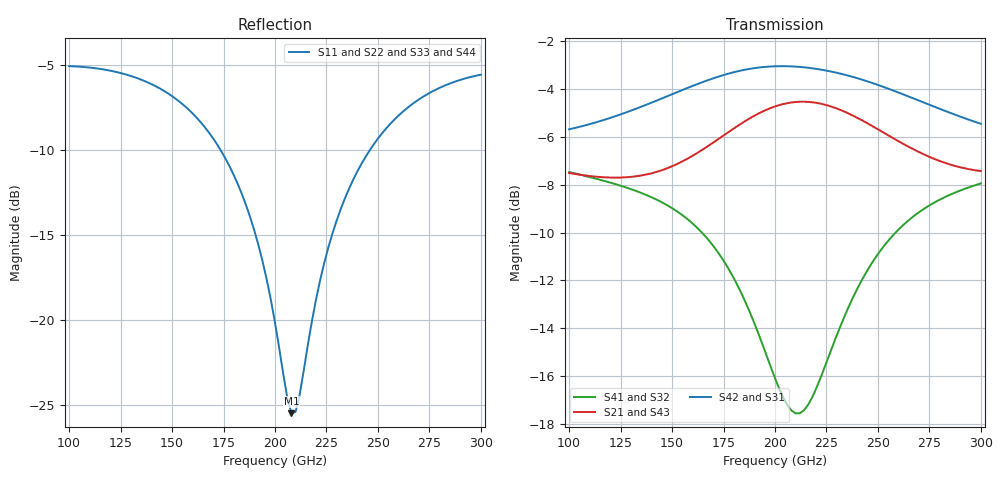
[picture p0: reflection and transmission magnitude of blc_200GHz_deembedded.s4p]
! Created with skrf 2.2.0 (http://scikit-rf.org).
# GHz S DB R 50.0
! Port[1] = P1
! Port[2] = P2
! Port[3] = P3
! Port[4] = P4
!freq dBS11 angS11 dBS12 angS12 dBS13 angS13
! dBS14 angS14
! dBS21 angS21 dBS22 angS22 dBS23 angS23
! dBS24 angS24
! dBS31 angS31 dBS32 angS32 dBS33 angS33
! dBS34 angS34
! dBS41 angS41 dBS42 angS42 dBS43 angS43
! dBS44 angS44
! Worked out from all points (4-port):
!   101 points, 100 GHz to 300 GHz, reference 50 ohm
!   strongest paths, dB at 100 GHz, 150 GHz, 200 GHz, 250 GHz, 300 GHz:
!     S42: -5.7, -4.2, -3.0, -3.8, -5.5
!     S31: -5.7, -4.2, -3.0, -3.8, -5.5
!     S21: -7.5, -7.2, -4.7, -5.7, -7.4
!     S43: -7.5, -7.2, -4.7, -5.7, -7.4
!     S41: -7.5, -9.0, -16.1, -10.9, -7.9
!     S32: -7.5, -9.0, -16.1, -10.9, -7.9
!   lowest |S11| = -25.5 dB at 208 GHz (marker M1), VSWR 1.11, Z = 55.6 + j0.409 ohm
!   |S11| at or under -10 dB: 173.6 GHz to 246 GHz (72.35 GHz wide, 34.5 % of centre)
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100  -5.05 159.3  -7.50 -47.9  -5.68 -78.0  -7.47 -60.5
     -7.50 -47.9  -5.05 159.4  -7.46 -60.5  -5.68 -77.9
     -5.68 -78.0  -7.46 -60.5  -5.05 159.4  -7.50 -47.9
     -7.47 -60.5  -5.68 -77.9  -7.50 -47.9  -5.05 159.3
172  -9.67 108.7  -6.12 -67.9  -3.49 -142.2  -10.79 -107.5
     -6.12 -67.9  -9.68 108.7  -10.78 -107.5  -3.49 -142.1
     -3.49 -142.2  -10.78 -107.5  -9.69 108.7  -6.12 -68.0
     -10.79 -107.5  -3.49 -142.1  -6.12 -68.0  -9.68 108.7
192  -15.60 81.5  -5.02 -80.6  -3.10 -164.5  -14.24 -115.2
     -5.02 -80.6  -15.61 81.4  -14.23 -115.2  -3.10 -164.4
     -3.10 -164.5  -14.23 -115.2  -15.62 81.5  -5.02 -80.6
     -14.24 -115.2  -3.10 -164.4  -5.02 -80.6  -15.61 81.5
208  -25.48 4.0  -4.56 -93.9  -3.05 177.2  -17.44 -98.6
     -4.56 -93.9  -25.45 3.6  -17.44 -98.7  -3.05 177.2
     -3.05 177.2  -17.44 -98.7  -25.50 3.5  -4.56 -94.0
     -17.44 -98.6  -3.05 177.2  -4.56 -94.0  -25.50 3.6
226  -15.68 -91.3  -4.69 -109.5  -3.24 156.9  -15.20 -71.3
     -4.69 -109.5  -15.65 -91.2  -15.21 -71.3  -3.24 157.0
     -3.24 156.9  -15.21 -71.3  -15.65 -91.3  -4.70 -109.5
     -15.20 -71.3  -3.24 157.0  -4.70 -109.5  -15.66 -91.3
242  -10.80 -112.6  -5.29 -121.5  -3.60 139.6  -12.01 -72.6
     -5.29 -121.5  -10.79 -112.5  -12.02 -72.6  -3.60 139.6
     -3.60 139.6  -12.02 -72.6  -10.78 -112.5  -5.30 -121.6
     -12.01 -72.6  -3.60 139.6  -5.30 -121.6  -10.78 -112.6
300  -5.55 -155.9  -7.43 -144.8  -5.45 85.5  -7.94 -111.3
     -7.43 -144.8  -5.54 -155.8  -7.95 -111.2  -5.45 85.5
     -5.45 85.5  -7.95 -111.2  -5.54 -155.8  -7.43 -144.9
     -7.94 -111.3  -5.45 85.5  -7.43 -144.9  -5.54 -155.9
